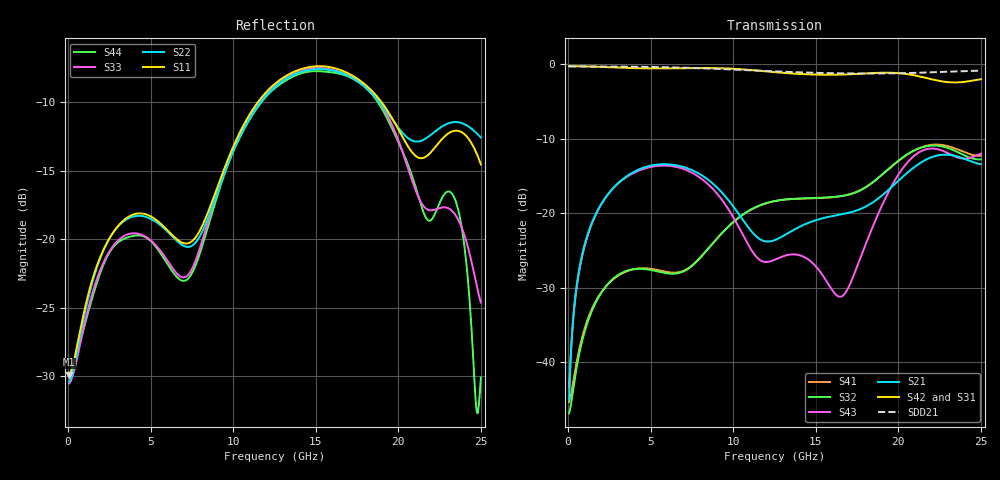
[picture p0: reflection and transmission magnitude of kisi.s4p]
! BV_ts_m2_per0_q050f25s_e35_in2gnd: /TS-USB4 Components/M2_PER0_P via F.Cu→In3.Cu at (161.287, 130.742) with its partner – diagnosis: In2 joined to every GND via
! stackup: Thunderscope_Rev5.3 from the board file and its kisi.json
! ports: 1 P in, 2 N in, 3 P out, 4 N out
! kisi-fdtd, conformal, dfine 0.025 mm (the cell at metal ÷ 2), 1699792 cells
# Hz S RI R 50
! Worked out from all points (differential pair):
!   400 points, 62.5 MHz to 25 GHz, reference 50 ohm
!   strongest paths, dB at 62.5 MHz, 6.312 GHz, 12.56 GHz, 18.81 GHz, 25 GHz:
!     S42: -0.3, -0.6, -1.1, -1.2, -2.0
!     S31: -0.3, -0.6, -1.1, -1.2, -2.0
!     S21: -45.0, -13.5, -23.6, -18.0, -13.4
!     S43: -43.3, -13.7, -26.2, -19.9, -12.0
!     S32: -46.8, -28.1, -18.3, -15.2, -12.8
!     S41: -45.3, -28.0, -18.4, -15.2, -12.3
!   taken as a pair (ports 2,1 in; 4,3 out), SDD21 dB: -0.3, -0.4, -1.0, -1.2, -0.9
!   lowest |S11| = -29.9 dB at 62.5 MHz (marker M1), VSWR 1.07, Z = 46.9 + j0.338 ohm
!   |S11| at or under -10 dB: start of sweep to 11.49 GHz; 18.98 GHz to end of sweep
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6.25e7  -0.0318 0.0036  0.00462 0.00378  0.9702 -0.0193  0.00515 -0.00122
        0.00406 0.00385  -0.03 0.00334  0.00556 -0.00125  0.9694 -0.0192
        0.9693 -0.0192  0.00441 -0.00111  -0.0296 0.00321  0.00376 0.004
        0.00528 -0.00121  0.9688 -0.0191  0.00577 0.00365  -0.0321 0.0036
6.875e8  -0.0242 0.038  0.0141 0.0401  0.9452 -0.2097  0.000791 -0.0122
         0.0139 0.0406  -0.0238 0.0358  0.00103 -0.0126  0.9451 -0.2088
         0.9452 -0.2089  0.000817 -0.0115  -0.0215 0.0341  0.0148 0.0408
         0.00107 -0.0123  0.945 -0.2083  0.0142 0.0391  -0.0208 0.0357
2.5625e9  0.0399 0.0941  0.1067 0.0913  0.6631 -0.6839  -0.0311 -0.016
          0.1067 0.0909  0.039 0.0942  -0.0306 -0.0155  0.6632 -0.6841
          0.6627 -0.6844  -0.0309 -0.0163  0.0603 0.0688  0.105 0.0937
          -0.031 -0.0156  0.6633 -0.6843  0.1049 0.0934  0.0592 0.0687
9.75e9  0.0738 0.1861  0.036 -0.1152  -0.9245 -0.1243  -0.0236 0.0786
        0.0359 -0.1153  0.0688 0.1804  -0.0265 0.0776  -0.9251 -0.1273
        -0.9245 -0.124  -0.0266 0.0777  -0.1142 0.1618  0.0336 -0.0986
        -0.0236 0.0787  -0.9253 -0.1275  0.0339 -0.099  -0.1094 0.1575
1.60625e10  0.4199 -0.0415  -0.00991 -0.0952  0.1517 0.8296  0.1228 -0.0393
            -0.00988 -0.0954  0.4112 -0.0254  0.1239 -0.0336  0.1535 0.8345
            0.1519 0.83  0.124 -0.0335  0.4022 -0.0991  -0.0145 -0.0251
            0.1222 -0.0384  0.1528 0.8351  -0.014 -0.0263  0.3913 -0.1065
2.025e10  0.1676 -0.1668  -0.1225 0.1245  0.8659 0.0636  0.0349 -0.2271
          -0.1227 0.1244  0.196 -0.1464  0.0502 -0.2299  0.861 0.0558
          0.8664 0.0628  0.0502 -0.2307  -0.0165 -0.2079  0.0281 0.1936
          0.0392 -0.2316  0.8633 0.0547  0.0264 0.1971  -0.0337 -0.2068
2.5e10  0.0455 -0.1819  0.2033 0.0618  0.2019 -0.7745  -0.257 0.0292
        0.2038 0.0627  0.103 -0.2114  -0.2295 0.00644  0.1979 -0.7781
        0.2003 -0.771  -0.2295 0.0104  -0.041 -0.0421  0.2669 -0.0487
        -0.2407 0.0339  0.2106 -0.7635  0.2491 -0.0308  -0.0206 -0.0236
